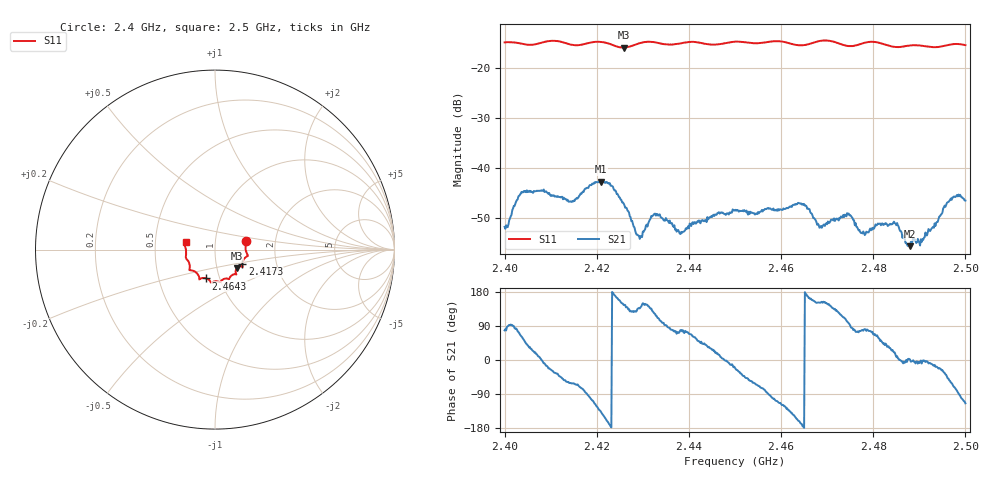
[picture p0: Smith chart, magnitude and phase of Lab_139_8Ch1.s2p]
# Hz S RI R 50
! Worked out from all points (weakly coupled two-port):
!   601 points, 2.4 GHz to 2.5 GHz, reference 50 ohm
!   highest |S21| = -42.75 dB at 2.421 GHz (marker M1); lowest = -55.6 dB at 2.488 GHz (marker M2)
!   lowest |S11| = -15.9 dB at 2.4258 GHz (marker M3), VSWR 1.38, Z = 62.3 - j13.2 ohm
!   |S11| at or under -10 dB: start of sweep to end of sweep
!   S12 and S22 are empty: the file has one direction only
!   S11 on the Smith chart (normalised r, x): 2.4 GHz: 1.41, +0.14; 2.4173 GHz: 1.34, -0.23; 2.4643 GHz: 0.86, -0.28; 2.5 GHz: 0.72, +0.06
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2.4e9  0.1731 0.049  0.000526 0.00252  0 0  0 0
2.404e9  0.1719 0.0249  0.0032 0.00472  0 0  0 0
2.414333e9  0.1637 -0.0494  0.00226 -0.00404  0 0  0 0
2.416667e9  0.1532 -0.0749  0.0015 -0.00531  0 0  0 0
2.417333e9  0.1525 -0.0823  0.000858 -0.00602  0 0  0 0
2.421e9  0.1539 -0.0968  -0.00548 -0.0048  0 0  0 0
2.425833e9  0.1214 -0.1034  -0.00362 0.00253  0 0  0 0
2.429333e9  0.1165 -0.1331  -0.00141 0.00135  0 0  0 0
2.433333e9  0.1128 -0.137  -0.00117 0.00312  0 0  0 0
2.438333e9  0.0817 -0.1561  0.00043 0.00225  0 0  0 0
2.45e9  0.0294 -0.1806  0.00349 -0.00134  0 0  0 0
2.464333e9  -0.05 -0.1604  -0.00432 -0.000906  0 0  0 0
2.466667e9  -0.0757 -0.1595  -0.00325 0.00129  0 0  0 0
2.468667e9  -0.0867 -0.1655  -0.00233 0.00121  0 0  0 0
2.474833e9  -0.1046 -0.128  -0.000273 0.00335  0 0  0 0
2.477833e9  -0.1337 -0.1158  0.000511 0.00226  0 0  0 0
2.483333e9  -0.1407 -0.0899  0.00215 0.00158  0 0  0 0
2.485e9  -0.1447 -0.0721  0.00264 0.000391  0 0  0 0
2.488e9  -0.1601 -0.0509  0.00165 1.91e-05  0 0  0 0
2.490667e9  -0.1622 -0.0369  0.00193 -0.000146  0 0  0 0
2.497167e9  -0.1702 0.027  0.00226 -0.00453  0 0  0 0
2.5e9  -0.1635 0.042  -0.00194 -0.00429  0 0  0 0
